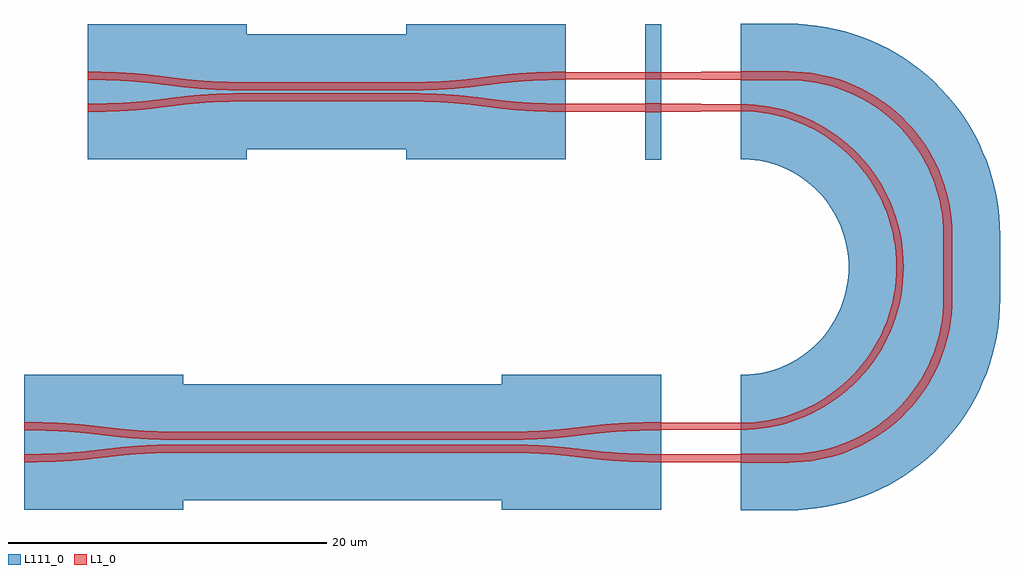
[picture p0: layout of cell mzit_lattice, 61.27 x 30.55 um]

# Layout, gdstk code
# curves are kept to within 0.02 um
import gdstk
lib = gdstk.Library(unit=1e-6, precision=1e-09)
def R(c, l, rs):  # rectangles x0, y0, x1, y1
    for r in rs: c.add(gdstk.rectangle(r[:2], r[2:], *l))
def P(c, l, *ps):  # polygons
    for p in ps: c.add(gdstk.Polygon(p, *l))
L1_0 = (1, 0)
L111_0 = (111, 0)

mzit_lattice = lib.new_cell('mzit_lattice')
R(mzit_lattice, L1_0, [(35,-0.625,38,-0.075), (0,0,20,0.5), (0,0.8,20,1.3), (47.725,9.65,48.275,13.65), (29,21.375,30,21.925), (4,22.05,14,22.55), (4,22.75,14,23.25), (35,23.375,38,23.925), (29,23.425,30,23.875)])
P(mzit_lattice, L1_0, [(0,0),(-1.378,-0.017),(-2.807,-0.083),(-3.956,-0.182),(-6.244,-0.441),(-7.361,-0.529),(-8.735,-0.586),(-10,-0.6),(-10,-0.1),(-8.622,-0.083),(-7.193,-0.017),(-6.044,0.082),(-3.756,0.341),(-2.639,0.429),(-1.265,0.486),(0,0.5)],
  [(0,1.3),(-1.378,1.317),(-2.807,1.383),(-3.956,1.482),(-6.244,1.741),(-7.361,1.829),(-8.735,1.886),(-10,1.9),(-10,1.4),(-8.622,1.383),(-7.193,1.317),(-6.044,1.218),(-3.756,0.959),(-2.639,0.871),(-1.265,0.814),(0,0.8)],
  [(20,1.3),(21.378,1.317),(22.807,1.383),(23.956,1.482),(26.244,1.741),(27.361,1.829),(28.735,1.886),(30,1.9),(30,1.4),(28.622,1.383),(27.193,1.317),(26.044,1.218),(23.756,0.959),(22.639,0.871),(21.265,0.814),(20,0.8)],
  [(20,0),(21.378,-0.017),(22.807,-0.083),(23.956,-0.182),(26.244,-0.441),(27.361,-0.529),(28.735,-0.586),(30,-0.6),(30,-0.1),(28.622,-0.083),(27.193,-0.017),(26.044,0.082),(23.756,0.341),(22.639,0.429),(21.265,0.486),(20,0.5)],
  [(30,1.9),(35,1.875),(35,1.425),(30,1.4)],
  [(35,21.425),(35.876,21.386),(36.745,21.268),(37.601,21.073),(38.435,20.802),(39.632,20.258),(40.385,19.808),(41.095,19.292),(41.755,18.715),(42.361,18.081),(42.908,17.396),(43.391,16.664),(43.807,15.891),(44.297,14.671),(44.53,13.825),(44.687,12.962),(44.775,11.65),(45.225,11.65),(45.184,12.567),(45.061,13.476),(44.857,14.37),(44.725,14.81),(44.402,15.669),(44.004,16.495),(43.534,17.283),(42.994,18.025),(42.391,18.716),(42.066,19.041),(41.375,19.644),(41.01,19.922),(40.244,20.428),(39.845,20.654),(39.019,21.052),(38.16,21.375),(37.72,21.507),(36.826,21.711),(35.917,21.834),(35,21.875)],
  [(44.775,11.65),(44.736,10.774),(44.618,9.905),(44.423,9.049),(44.152,8.215),(43.608,7.018),(43.158,6.265),(42.642,5.555),(42.065,4.895),(41.431,4.289),(40.746,3.742),(40.014,3.259),(39.241,2.843),(38.021,2.353),(37.175,2.12),(36.312,1.963),(35,1.875),(35,1.425),(35.917,1.466),(36.826,1.589),(37.72,1.793),(38.16,1.925),(39.019,2.248),(39.845,2.646),(40.633,3.116),(41.375,3.656),(42.066,4.259),(42.391,4.584),(42.994,5.275),(43.272,5.64),(43.778,6.406),(44.004,6.805),(44.402,7.631),(44.725,8.49),(44.857,8.93),(45.061,9.824),(45.184,10.733),(45.225,11.65)],
  [(35,21.425),(30,21.375),(30,21.925),(35,21.875)],
  [(29,21.375),(24,21.4),(24,21.9),(29,21.925)],
  [(30,-0.1),(35,-0.075),(35,-0.625),(30,-0.6)],
  [(38,23.375),(38.872,23.336),(39.736,23.219),(40.587,23.025),(41.417,22.755),(42.22,22.412),(42.988,21.998),(43.716,21.518),(44.721,20.679),(45.324,20.048),(45.868,19.366),(46.348,18.638),(46.762,17.87),(47.105,17.067),(47.375,16.237),(47.481,15.814),(47.686,14.522),(47.725,13.65),(48.275,13.65),(48.234,14.571),(48.11,15.485),(47.905,16.384),(47.62,17.26),(47.448,17.688),(47.048,18.519),(46.821,18.92),(46.313,19.689),(45.738,20.41),(45.101,21.077),(44.76,21.388),(44.039,21.963),(43.27,22.471),(42.869,22.698),(42.038,23.098),(41.175,23.422),(40.734,23.555),(39.835,23.76),(38.921,23.884),(38,23.925)],
  [(47.725,9.65),(47.686,8.778),(47.569,7.914),(47.375,7.063),(47.105,6.233),(46.762,5.43),(46.348,4.662),(45.868,3.934),(45.029,2.929),(44.398,2.326),(43.716,1.782),(42.988,1.302),(42.22,0.888),(41.417,0.545),(40.587,0.275),(40.164,0.169),(38.872,-0.036),(38,-0.075),(38,-0.625),(38.921,-0.584),(39.835,-0.46),(40.734,-0.255),(41.61,0.03),(42.038,0.202),(42.869,0.602),(43.27,0.829),(44.039,1.337),(44.76,1.912),(45.427,2.549),(45.738,2.89),(46.313,3.611),(46.821,4.38),(47.048,4.781),(47.448,5.612),(47.772,6.475),(47.905,6.916),(48.11,7.815),(48.234,8.729),(48.275,9.65)],
  [(35,23.375),(30,23.425),(30,23.875),(35,23.925)],
  [(29,23.425),(24,23.4),(24,23.9),(29,23.875)],
  [(4,22.05),(2.379,22.023),(1.098,21.953),(-0.035,21.844),(-2.157,21.582),(-3.36,21.477),(-4.608,21.419),(-6,21.4),(-6,21.9),(-4.379,21.927),(-3.098,21.997),(-1.965,22.106),(0.157,22.368),(1.36,22.473),(2.608,22.531),(4,22.55)],
  [(4,23.25),(2.379,23.277),(1.098,23.347),(-0.035,23.456),(-2.157,23.718),(-3.36,23.823),(-4.608,23.881),(-6,23.9),(-6,23.4),(-4.379,23.373),(-3.098,23.303),(-1.965,23.194),(0.157,22.932),(1.36,22.827),(2.608,22.769),(4,22.75)],
  [(14,23.25),(15.621,23.277),(16.902,23.347),(18.035,23.456),(20.157,23.718),(21.36,23.823),(22.608,23.881),(24,23.9),(24,23.4),(22.379,23.373),(21.098,23.303),(19.965,23.194),(17.843,22.932),(16.64,22.827),(15.392,22.769),(14,22.75)],
  [(14,22.05),(15.621,22.023),(16.902,21.953),(18.035,21.844),(20.157,21.582),(21.36,21.477),(22.608,21.419),(24,21.4),(24,21.9),(22.379,21.927),(21.098,21.997),(19.965,22.106),(17.843,22.368),(16.64,22.473),(15.392,22.531),(14,22.55)])
R(mzit_lattice, L111_0, [(35,-3.625,38,2.925), (-10,-3.6,0,3.5), (20,-3.6,30,3.5), (0,-3,20,4.3), (-10,-2.2,0,4.9), (20,-2.2,30,4.9), (44.725,9.65,51.275,13.65), (29,18.375,30,24.925), (-6,18.4,4,25.55), (14,18.4,24,25.55), (4,19.05,14,26.25), (-6,19.75,4,26.9), (14,19.75,24,26.9), (35,20.375,38,26.925), (29,20.425,30,26.875)])
P(mzit_lattice, L111_0, [(35,18.425),(35.607,18.398),(36.21,18.316),(36.802,18.181),(37.663,17.88),(38.21,17.616),(38.732,17.304),(39.224,16.947),(39.682,16.547),(40.102,16.108),(40.481,15.632),(40.816,15.125),(41.23,14.313),(41.531,13.452),(41.666,12.86),(41.748,12.257),(41.775,11.65),(48.225,11.65),(48.172,12.835),(48.105,13.425),(47.893,14.593),(47.748,15.168),(47.578,15.737),(47.161,16.848),(46.646,17.917),(46.353,18.433),(46.037,18.936),(45.34,19.896),(44.559,20.789),(44.139,21.209),(43.246,21.99),(42.773,22.349),(42.286,22.687),(41.267,23.296),(40.198,23.811),(39.647,24.032),(39.087,24.228),(37.943,24.543),(37.361,24.662),(36.185,24.822),(35,24.875)],
  [(41.775,11.65),(41.748,11.043),(41.666,10.44),(41.531,9.848),(41.23,8.987),(40.966,8.44),(40.654,7.918),(40.297,7.426),(39.897,6.968),(39.458,6.548),(38.982,6.169),(38.475,5.834),(37.663,5.42),(36.802,5.119),(36.21,4.984),(35.607,4.902),(35,4.875),(35,-1.575),(36.185,-1.522),(36.775,-1.455),(37.943,-1.243),(38.518,-1.098),(39.087,-0.928),(40.198,-0.511),(41.267,0.004),(41.783,0.297),(42.286,0.613),(43.246,1.31),(44.139,2.091),(44.559,2.511),(45.34,3.404),(45.699,3.877),(46.037,4.364),(46.646,5.383),(47.161,6.452),(47.382,7.003),(47.578,7.563),(47.893,8.707),(48.012,9.289),(48.172,10.465),(48.225,11.65)],
  [(38,20.375),(38.603,20.348),(39.201,20.267),(39.789,20.133),(40.643,19.834),(41.187,19.572),(41.705,19.263),(42.193,18.908),(42.647,18.511),(43.258,17.843),(43.613,17.355),(43.922,16.837),(44.184,16.293),(44.483,15.439),(44.617,14.851),(44.698,14.253),(44.725,13.65),(51.275,13.65),(51.262,14.246),(51.155,15.432),(51.062,16.02),(50.797,17.182),(50.429,18.315),(50.207,18.867),(49.69,19.941),(49.396,20.459),(48.74,21.453),(48.379,21.927),(47.595,22.824),(47.174,23.245),(46.277,24.029),(45.803,24.39),(44.809,25.046),(43.76,25.61),(42.665,26.079),(41.532,26.447),(40.954,26.592),(40.37,26.712),(39.19,26.872),(38,26.925)],
  [(44.725,9.65),(44.698,9.047),(44.617,8.449),(44.483,7.861),(44.184,7.007),(43.922,6.463),(43.613,5.945),(43.258,5.457),(42.861,5.003),(42.193,4.392),(41.705,4.037),(41.187,3.728),(40.643,3.466),(39.789,3.167),(39.201,3.033),(38.603,2.952),(38,2.925),(38,-3.625),(38.596,-3.612),(39.782,-3.505),(40.37,-3.412),(41.532,-3.147),(42.665,-2.779),(43.217,-2.557),(44.291,-2.04),(44.809,-1.746),(45.803,-1.09),(46.277,-0.729),(47.174,0.055),(47.595,0.476),(48.379,1.373),(48.74,1.847),(49.396,2.841),(49.96,3.89),(50.429,4.985),(50.797,6.118),(50.942,6.696),(51.062,7.28),(51.222,8.46),(51.275,9.65)])

lib.write_gds('mzit_lattice.gds')
